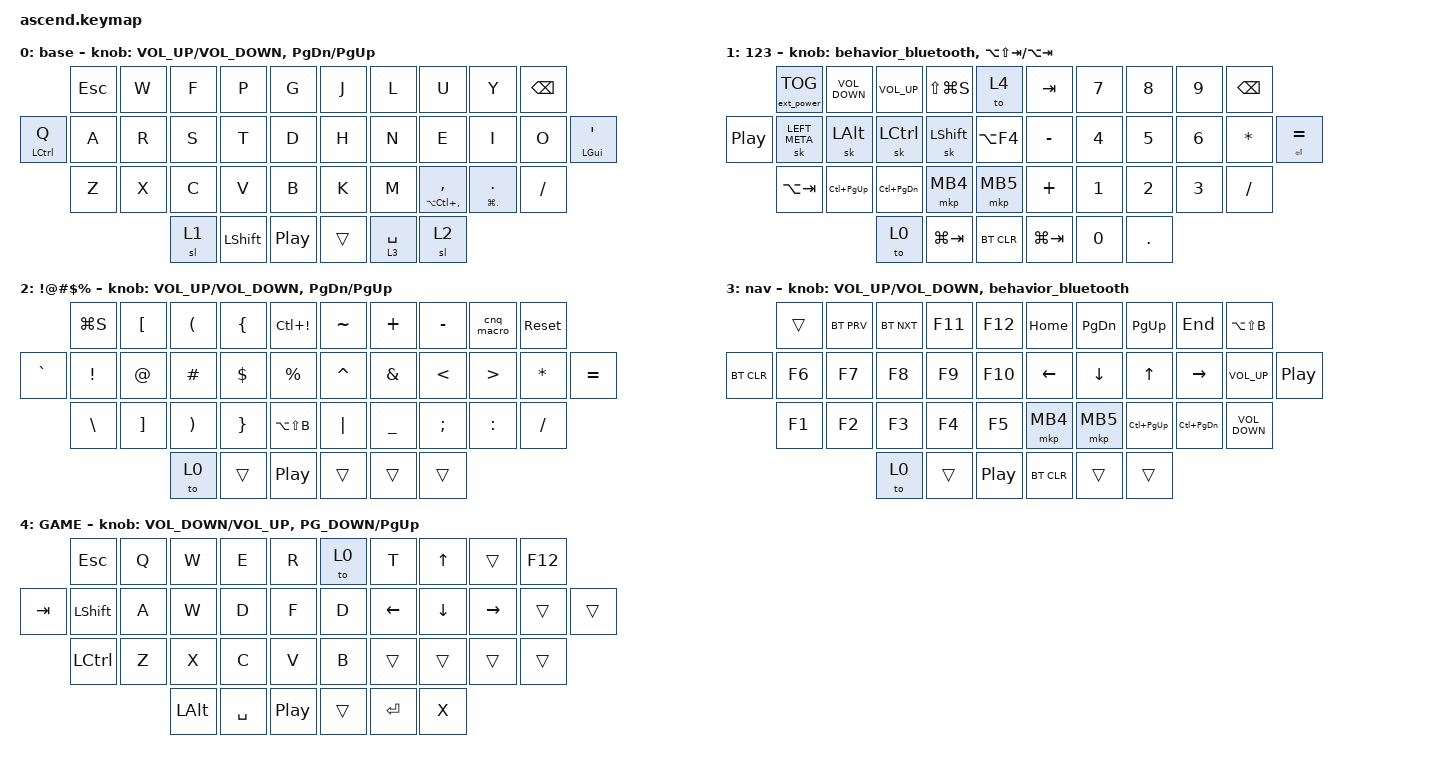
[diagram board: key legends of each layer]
/*
 * Copyright (c) 2022 The ZMK Contributors
 *
 * SPDX-License-Identifier: MIT
 */

#include <dt-bindings/zmk/mouse.h>
#include <behaviors.dtsi>
#include <dt-bindings/zmk/bt.h>
#include <dt-bindings/zmk/ext_power.h>
#include <dt-bindings/zmk/keys.h>

&mt {
    //  flavor = "tap-preferred";
    // tapping_term_ms = <200>;

    flavor = "balanced";
    tapping-term-ms = <170>;
};

&sk {
    release-after-ms = <1500>;
    quick-release;

    // ignore-modifiers;
};

&sl { release-after-ms = <1500>; };

/ {
    combos {
        compatible = "zmk,combos";

        combo_esc {
            timeout-ms = <50>;
            key-positions = <1 0>;
            bindings = <&kp ESC>;
            layers = <0 1 2 3>;
        };

        combo_tab {
            timeout-ms = <50>;
            key-positions = <23 24>;
            bindings = <&kp TAB>;
        };

        combo_return {
            timeout-ms = <50>;
            key-positions = <29 30>;
            bindings = <&kp RETURN>;
            layers = <0 1 2 3>;
        };

        combo_manager {
            timeout-ms = <50>;
            key-positions = <0 2>;
            bindings = <&kp LS(LC(ESCAPE))>;
        };

        combo_cnq {
            timeout-ms = <50>;
            key-positions = <9 8>;
            bindings = <&cnq_macro>;
        };

        combo_toggle1 {
            bindings = <&tog 1>;
            key-positions = <32 33>;
        };

        combo_toggle3 {
            bindings = <&tog 3>;
            key-positions = <36 37>;
        };

        combo_backspace_1 {
            bindings = <&kp BACKSPACE>;
            key-positions = <6 7>;
            timeout-ms = <50>;
        };

        combo_backspace_2 {
            bindings = <&kp BACKSPACE>;
            key-positions = <1 2>;
        };

        combo_delete_1 {
            bindings = <&kp DELETE>;
            key-positions = <7 8>;
        };

        combo_delete_2 {
            bindings = <&kp DELETE>;
            key-positions = <2 3>;
        };
    };

    macros {
        cnq_macro: cnq_macro {
            compatible = "zmk,behavior-macro";
            #binding-cells = <0>;
            bindings = <&kp GRAVE &kp LBKT &kp GRAVE &kp RIGHT_BRACKET &kp LEFT_ARROW &kp LEFT_ARROW &kp DOWN_ARROW &kp DOWN_ARROW>;
            label = "CNQ_MACRO";
        };
    };

    behaviors {
        holdtap_comma: holdtap_comma {
            compatible = "zmk,behavior-hold-tap";
            label = "HOLDTAP_COMMA";
            bindings = <&kp>, <&kp>;

            #binding-cells = <2>;
            tapping-term-ms = <200>;
            hold-trigger-key-positions = <29>;
            flavor = "hold-preferred";
        };

        holdtap_period: holdtap_period {
            compatible = "zmk,behavior-hold-tap";
            label = "HOLDTAP_PERIOD";
            bindings = <&kp>, <&kp>;

            #binding-cells = <2>;
            tapping-term-ms = <200>;
            hold-trigger-key-positions = <30>;
        };

        holdtap_equal_enter: holdtap_equal_enter {
            compatible = "zmk,behavior-hold-tap";
            label = "HOLDTAP_EQUAL_ENTER";
            bindings = <&kp>, <&kp>;

            #binding-cells = <2>;
            tapping-term-ms = <200>;
            hold-trigger-key-positions = <21>;
        };

        behavior_bluetooth: behavior_bluetooth {
            compatible = "zmk,behavior-sensor-rotate";
            label = "BEHAVIOR_BLUETOOTH";
            #sensor-binding-cells = <0>;
            bindings = <&bt BT_NXT>, <&bt BT_PRV>;
        };
    };

    keymap {
        compatible = "zmk,keymap";

        default_layer {
            display-name = "base";
            bindings = <
                    &kp ESCAPE  &kp W  &kp F  &kp P           &kp G               &kp J   &kp L        &kp U                               &kp Y                              &kp BACKSPACE
&mt LEFT_CONTROL Q  &kp A       &kp R  &kp S  &kp T           &kp D               &kp H   &kp N        &kp E                               &kp I                              &kp O          &mt LEFT_GUI SQT
                    &kp Z       &kp X  &kp C  &kp V           &kp B               &kp K   &kp M        &holdtap_comma LA(LC(COMMA)) COMMA  &holdtap_period LG(PERIOD) PERIOD  &kp FSLH
                                       &sl 1  &kp LEFT_SHIFT  &kp C_PLAY_PAUSE    &trans  &lt 3 SPACE  &sl 2
            >;

            sensor-bindings = <&inc_dec_kp C_VOLUME_UP C_VOLUME_DOWN &inc_dec_kp PAGE_DOWN PAGE_UP>;
        };

        left_layer {
            display-name = "123";
            bindings = <
                  &ext_power EP_TOG  &kp C_VOLUME_DOWN  &kp C_VOLUME_UP    &kp LS(LG(S))   &to 4         &kp TAB      &kp NUMBER_7  &kp NUMBER_8  &kp NUMBER_9  &kp BACKSPACE
&kp C_PLAY_PAUSE  &sk LEFT_META      &sk LEFT_ALT       &sk LEFT_CONTROL   &sk LEFT_SHIFT  &kp LA(F4)    &kp MINUS    &kp NUMBER_4  &kp NUMBER_5  &kp NUMBER_6  &kp ASTERISK   &holdtap_equal_enter ENTER EQUAL
                  &kp LA(TAB)        &kp LC(PAGE_UP)    &kp LC(PAGE_DOWN)  &mkp MB4        &mkp MB5      &kp PLUS     &kp NUMBER_1  &kp NUMBER_2  &kp NUMBER_3  &kp FSLH
                                                        &to 0              &kp LG(TAB)     &bt BT_CLR    &kp LG(TAB)  &kp NUMBER_0  &kp DOT
            >;

            sensor-bindings = <&behavior_bluetooth &inc_dec_kp LA(LS(TAB)) LA(TAB)>;
        };

        right_layer {
            display-name = "!@#$%";
            bindings = <
           &kp LG(S)        &kp LEFT_BRACKET   &kp LEFT_PARENTHESIS   &kp LEFT_BRACE   &kp LC(EXCLAMATION)    &kp TILDE  &kp PLUS        &kp MINUS      &cnq_macro        &sys_reset
&kp GRAVE  &kp EXCLAMATION  &kp AT_SIGN        &kp HASH               &kp DOLLAR       &kp PERCENT            &kp CARET  &kp AMPERSAND   &kp LESS_THAN  &kp GREATER_THAN  &kp ASTERISK  &kp EQUAL
           &kp BACKSLASH    &kp RIGHT_BRACKET  &kp RIGHT_PARENTHESIS  &kp RIGHT_BRACE  &kp LA(LS(B))          &kp PIPE   &kp UNDERSCORE  &kp SEMICOLON  &kp COLON         &kp SLASH
                                               &to 0                  &trans           &kp C_PLAY_PAUSE       &trans     &trans          &trans
            >;

            sensor-bindings = <&inc_dec_kp C_VOLUME_UP C_VOLUME_DOWN &inc_dec_kp PAGE_DOWN PAGE_UP>;
        };

        nav_layer {
            display-name = "nav";
            bindings = <
            &trans  &bt BT_PRV  &bt BT_NXT  &kp F11  &kp F12             &kp HOME    &kp PAGE_DOWN  &kp PAGE_UP      &kp END            &kp LA(LS(B))
&bt BT_CLR  &kp F6  &kp F7      &kp F8      &kp F9   &kp F10             &kp LEFT    &kp DOWN       &kp UP           &kp RIGHT          &kp C_VOLUME_UP    &kp C_PLAY_PAUSE
            &kp F1  &kp F2      &kp F3      &kp F4   &kp F5              &mkp MB4    &mkp MB5       &kp LC(PAGE_UP)  &kp LC(PAGE_DOWN)  &kp C_VOLUME_DOWN
                                &to 0       &trans   &kp C_PLAY_PAUSE    &bt BT_CLR  &trans         &trans
            >;

            sensor-bindings =
                <&inc_dec_kp C_VOLUME_UP C_VOLUME_DOWN>,
                <&behavior_bluetooth>;
        };

        gaming_layer {
            display-name = "GAME";
            bindings = <
         &kp ESCAPE        &kp Q  &kp W         &kp E      &kp R               &to 0   &kp T      &kp UP    &trans     &kp F12
&kp TAB  &kp LEFT_SHIFT    &kp A  &kp W         &kp D      &kp F               &kp D   &kp LEFT   &kp DOWN  &kp RIGHT  &trans   &trans
         &kp LEFT_CONTROL  &kp Z  &kp X         &kp C      &kp V               &kp B   &trans     &trans    &trans     &trans
                                  &kp LEFT_ALT  &kp SPACE  &kp C_PLAY_PAUSE    &trans  &kp ENTER  &kp X
            >;

            sensor-bindings = <&inc_dec_kp C_VOL_DOWN C_VOL_UP &inc_dec_kp PG_DOWN PG_UP>;
        };
    };
};
